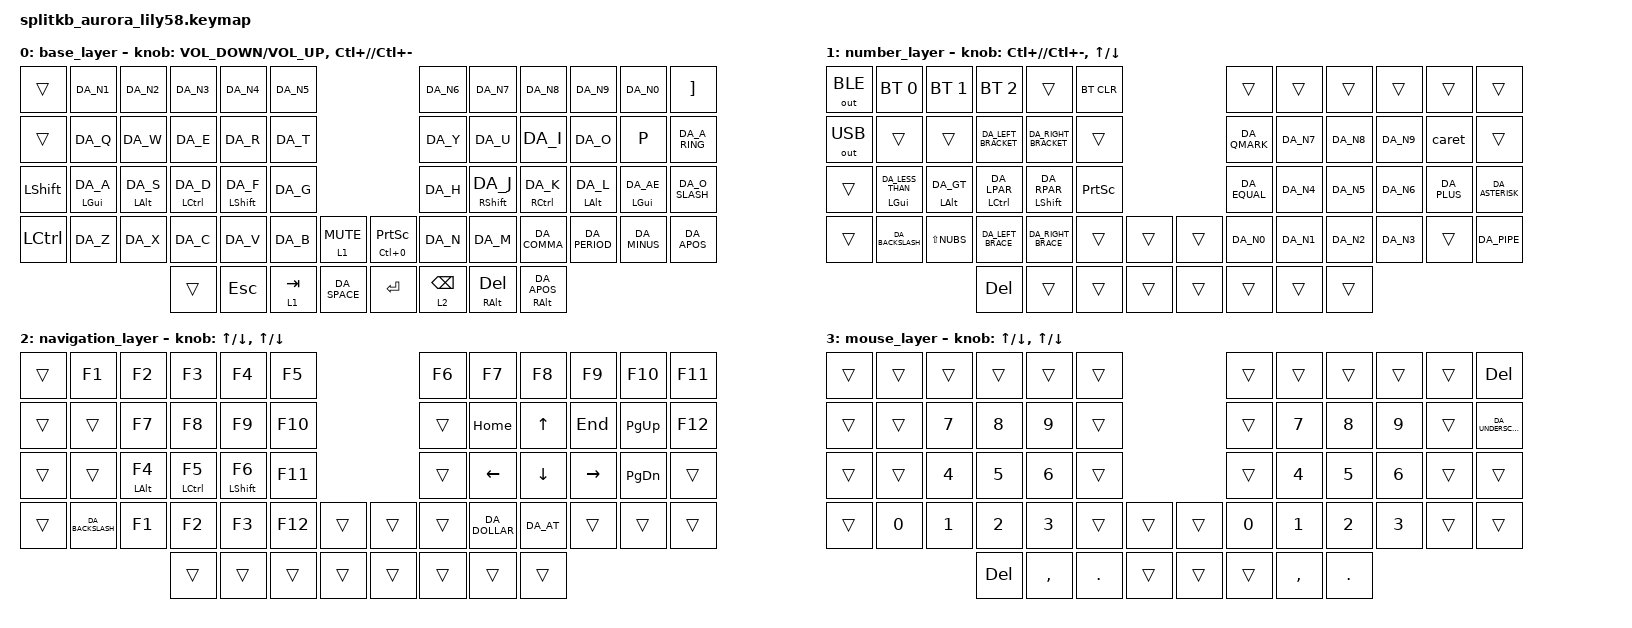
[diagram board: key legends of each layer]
/*
 * Copyright (c) 2022 The ZMK Contributors
 *
 * SPDX-License-Identifier: MIT
 */
/*
* out commented 2024.02.19
*
* #include <dt-bindings/zmk/mouse.h>
* #include <dt-bindings/zmk/backlight.h>
* #include <dt-bindings/zmk/rgb.h>
* #include <dt-bindings/zmk/ext_power.h>
*/

#include <locale/keys_da.h>
#include <behaviors.dtsi>
#include <dt-bindings/zmk/bt.h>
#include <dt-bindings/zmk/keys.h>
#include <dt-bindings/zmk/outputs.h>

/*
* out commented 2024.02.19
*
* &led_strip { chain-length = <29>; };
*/

&left_encoder { steps = <72>; };

&right_encoder { steps = <72>; };

&sensors {
    compatible = "zmk,keymap-sensors";
    sensors = <&left_encoder &right_encoder>;
    triggers-per-rotation = <36>;
};

&mt {
    flavor = "tap-preferred";
    require-prior-idle-ms = <125>;
    tapping-term-ms = <175>;
};

/ {
    macros {
        /**
         * Temporarily switches to a layer (`&mo`) while a modifier is held.
         * Analogous to QMK's `LM()`, using a parameterized macro.
         *
         * Params:
         *  1. Layer to switch to
         *  2. Modifier to press while layer is active
         *
         * Example:
         *  `&lm NUM_LAYER LSHIFT`
         */

        caret: caret {
            compatible = "zmk,behavior-macro";
            #binding-cells = <0>;
            bindings = <&kp LS(RIGHT_BRACE) &kp SPACE>;
            label = "CARET";
        };
    };

    behaviors {
        lt_backspace: lt_backspace {
            compatible = "zmk,behavior-hold-tap";
            label = "LT_BACKSPACE";
            bindings = <&mo>, <&kp>;

            #binding-cells = <2>;
            tapping-term-ms = <175>;
            quick-tap-ms = <175>;
            require-prior-idle-ms = <125>;
            flavor = "balanced";
        };

        tap_dance: tap_dance {
            compatible = "zmk,behavior-tap-dance";
            label = "TAP_DANCE";
            #binding-cells = <0>;
            bindings = <&kp DEL>, <&to 1>;
        };

        lt_tap_kp: lt_tap_kp {
            compatible = "zmk,behavior-hold-tap";
            label = "LT_TAP_KP";
            bindings = <&mo>, <&kp>;

            #binding-cells = <2>;
            tapping-term-ms = <200>;
            flavor = "hold-preferred";
        };

        mt_index_finger: mt_index_finger {
            compatible = "zmk,behavior-hold-tap";
            label = "MT_INDEX_FINGER";
            bindings = <&kp>, <&kp>;

            #binding-cells = <2>;
            tapping-term-ms = <175>;
            require-prior-idle-ms = <100>;
            flavor = "balanced";
        };
    };

    combos {
        compatible = "zmk,combos";

        toBT00 {
            bindings = <&bt BT_SEL 0>;
            key-positions = <25 26 27 28>;
        };

        toBT01 {
            bindings = <&bt BT_SEL 1>;
            key-positions = <31 32 33 34>;
        };

        del {
            bindings = <&kp DEL>;
            key-positions = <52 51>;
        };

        copy {
            bindings = <&kp LC(C)>;
            key-positions = <39 40>;
        };

        paste {
            bindings = <&kp LC(V)>;
            key-positions = <27 40>;
        };

        fg_enter {
            bindings = <&kp RET>;
            key-positions = <28 29>;
        };
    };

    keymap {
        compatible = "zmk,keymap";

        base_layer {
            bindings = <
&trans          &kp DA_N1      &kp DA_N2      &kp DA_N3       &kp DA_N4                         &kp DA_N5                                                 &kp DA_N6                  &kp DA_N7                    &kp DA_N8         &kp DA_N9          &kp DA_N0           &kp RBKT
&trans          &kp DA_Q       &kp DA_W       &kp DA_E        &kp DA_R                          &kp DA_T                                                  &kp DA_Y                   &kp DA_U                     &kp DA_I          &kp DA_O           &kp P               &kp DA_A_RING
&kp LEFT_SHIFT  &mt LGUI DA_A  &mt LALT DA_S  &mt LCTRL DA_D  &mt_index_finger LEFT_SHIFT DA_F  &kp DA_G                                                  &kp DA_H                   &mt_index_finger RSHFT DA_J  &mt RCTRL DA_K    &mt LEFT_ALT DA_L  &mt LEFT_GUI DA_AE  &kp DA_O_SLASH
&kp LCTRL       &kp DA_Z       &kp DA_X       &kp DA_C        &kp DA_V                          &kp DA_B          &lt 1 C_MUTE    &mt LC(N0) PRINTSCREEN  &kp DA_N                   &kp DA_M                     &kp DA_COMMA      &kp DA_PERIOD      &kp DA_MINUS        &kp DA_APOS
                                              &trans          &kp ESCAPE                        &lt_tap_kp 1 TAB  &kp DA_SPACE    &kp ENTER               &lt_backspace 2 BACKSPACE  &mt RALT DEL                 &mt RALT DA_APOS
            >;

            sensor-bindings =
                <&inc_dec_kp C_VOLUME_DOWN C_VOLUME_UP>,
                <&inc_dec_kp LC(SLASH) LC(MINUS)>;
        };

        number_layer {
            bindings = <
&out OUT_BLE  &bt BT_SEL 0           &bt BT_SEL 1    &bt BT_SEL 2         &trans                          &bt BT_CLR                         &trans        &trans     &trans     &trans     &trans       &trans
&out OUT_USB  &trans                 &trans          &kp DA_LEFT_BRACKET  &kp DA_RIGHT_BRACKET            &trans                             &kp DA_QMARK  &kp DA_N7  &kp DA_N8  &kp DA_N9  &caret       &trans
&trans        &mt LGUI DA_LESS_THAN  &mt LALT DA_GT  &mt LCTRL DA_LPAR    &mt_index_finger LSHFT DA_RPAR  &kp PRINTSCREEN                    &kp DA_EQUAL  &kp DA_N4  &kp DA_N5  &kp DA_N6  &kp DA_PLUS  &kp DA_ASTERISK
&trans        &kp DA_BACKSLASH       &kp LS(NUBS)    &kp DA_LEFT_BRACE    &kp DA_RIGHT_BRACE              &trans           &trans    &trans  &kp DA_N0     &kp DA_N1  &kp DA_N2  &kp DA_N3  &trans       &kp DA_PIPE
                                                     &kp DEL              &trans                          &trans           &trans    &trans  &trans        &trans     &trans
            >;

            sensor-bindings =
                <&inc_dec_kp LC(SLASH) LC(MINUS)>,
                <&inc_dec_kp UP_ARROW DOWN_ARROW>;
        };

        navigation_layer {
            bindings = <
&trans  &kp F1            &kp F2           &kp F3               &kp F4                          &kp F5                     &kp F6  &kp F7         &kp F8          &kp F9     &kp F10    &kp F11
&trans  &trans            &kp F7           &kp F8               &kp F9                          &kp F10                    &trans  &kp HOME       &kp UP_ARROW    &kp END    &kp PG_UP  &kp F12
&trans  &trans            &mt LEFT_ALT F4  &mt LEFT_CONTROL F5  &mt_index_finger LEFT_SHIFT F6  &kp F11                    &trans  &kp LEFT       &kp DOWN_ARROW  &kp RIGHT  &kp PG_DN  &trans
&trans  &kp DA_BACKSLASH  &kp F1           &kp F2               &kp F3                          &kp F12  &trans    &trans  &trans  &kp DA_DOLLAR  &kp DA_AT       &trans     &trans     &trans
                                           &trans               &trans                          &trans   &trans    &trans  &trans  &trans         &trans
            >;

            sensor-bindings = <&inc_dec_kp UP DOWN>, <&inc_dec_kp UP DOWN>;
        };

        mouse_layer {
            bindings = <
&trans  &trans  &trans        &trans   &trans        &trans                        &trans  &trans        &trans        &trans        &trans  &kp DELETE
&trans  &trans  &kp N7        &kp N8   &kp N9        &trans                        &trans  &kp N7        &kp N8        &kp N9        &trans  &kp DA_UNDERSCORE
&trans  &trans  &kp NUMBER_4  &kp N5   &kp NUMBER_6  &trans                        &trans  &kp NUMBER_4  &kp N5        &kp NUMBER_6  &trans  &trans
&trans  &kp N0  &kp N1        &kp N2   &kp NUMBER_3  &trans      &trans    &trans  &kp N0  &kp NUMBER_1  &kp NUMBER_2  &kp NUMBER_3  &trans  &trans
                              &kp DEL  &kp COMMA     &kp PERIOD  &trans    &trans  &trans  &kp COMMA     &kp PERIOD
            >;

            sensor-bindings = <&inc_dec_kp UP DOWN>, <&inc_dec_kp UP DOWN>;
        };
    };
};
